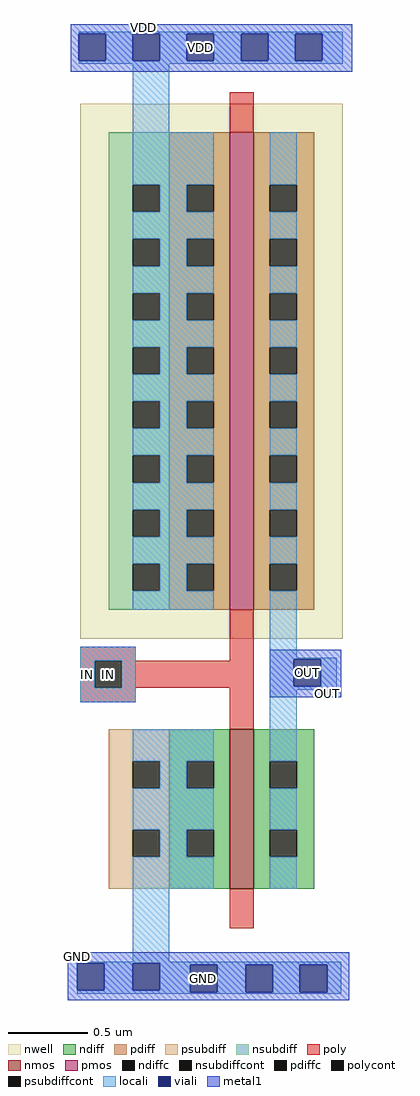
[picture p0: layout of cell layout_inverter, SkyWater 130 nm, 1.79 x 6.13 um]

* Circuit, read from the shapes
.subckt layout_inverter GND IN OUT VDD
XM1 OUT IN GND GND sky130_fd_pr__nfet_01v8 w=1 l=0.15
XM2 OUT IN VDD VDD sky130_fd_pr__pfet_01v8 w=3 l=0.15
.ends

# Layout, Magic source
magic
tech sky130A
<< nwell >>
rect -94 182 71 518
<< nmos >>
rect 0 25 15 125
<< pmos >>
rect 0 200 15 500
<< ndiff >>
rect -38 105 0 125
rect -38 88 -27 105
rect -10 88 0 105
rect -38 62 0 88
rect -38 45 -27 62
rect -10 45 0 62
rect -38 25 0 45
rect 15 105 53 125
rect 15 88 25 105
rect 42 88 53 105
rect 15 62 53 88
rect 15 45 25 62
rect 42 45 53 62
rect 15 25 53 45
<< pdiff >>
rect -38 467 0 500
rect -38 450 -27 467
rect -10 450 0 467
rect -38 433 0 450
rect -38 416 -27 433
rect -10 416 0 433
rect -38 399 0 416
rect -38 382 -27 399
rect -10 382 0 399
rect -38 365 0 382
rect -38 348 -27 365
rect -10 348 0 365
rect -38 331 0 348
rect -38 314 -27 331
rect -10 314 0 331
rect -38 297 0 314
rect -38 280 -27 297
rect -10 280 0 297
rect -38 263 0 280
rect -38 246 -27 263
rect -10 246 0 263
rect -38 229 0 246
rect -38 212 -27 229
rect -10 212 0 229
rect -38 200 0 212
rect 15 467 53 500
rect 15 450 25 467
rect 42 450 53 467
rect 15 433 53 450
rect 15 416 25 433
rect 42 416 53 433
rect 15 399 53 416
rect 15 382 25 399
rect 42 382 53 399
rect 15 365 53 382
rect 15 348 25 365
rect 42 348 53 365
rect 15 331 53 348
rect 15 314 25 331
rect 42 314 53 331
rect 15 297 53 314
rect 15 280 25 297
rect 42 280 53 297
rect 15 263 53 280
rect 15 246 25 263
rect 42 246 53 263
rect 15 229 53 246
rect 15 212 25 229
rect 42 212 53 229
rect 15 200 53 212
<< ndiffc >>
rect -27 88 -10 105
rect -27 45 -10 62
rect 25 88 42 105
rect 25 45 42 62
<< pdiffc >>
rect -27 450 -10 467
rect -27 416 -10 433
rect -27 382 -10 399
rect -27 348 -10 365
rect -27 314 -10 331
rect -27 280 -10 297
rect -27 246 -10 263
rect -27 212 -10 229
rect 25 450 42 467
rect 25 416 42 433
rect 25 382 42 399
rect 25 348 42 365
rect 25 314 42 331
rect 25 280 42 297
rect 25 246 42 263
rect 25 212 42 229
<< psubdiff >>
rect -76 105 -38 125
rect -76 88 -61 105
rect -44 88 -38 105
rect -76 62 -38 88
rect -76 45 -61 62
rect -44 45 -38 62
rect -76 25 -38 45
<< nsubdiff >>
rect -76 467 -38 500
rect -76 450 -61 467
rect -44 450 -38 467
rect -76 433 -38 450
rect -76 416 -61 433
rect -44 416 -38 433
rect -76 399 -38 416
rect -76 382 -61 399
rect -44 382 -38 399
rect -76 365 -38 382
rect -76 348 -61 365
rect -44 348 -38 365
rect -76 331 -38 348
rect -76 314 -61 331
rect -44 314 -38 331
rect -76 297 -38 314
rect -76 280 -61 297
rect -44 280 -38 297
rect -76 263 -38 280
rect -76 246 -61 263
rect -44 246 -38 263
rect -76 229 -38 246
rect -76 212 -61 229
rect -44 212 -38 229
rect -76 200 -38 212
<< psubdiffcont >>
rect -61 88 -44 105
rect -61 45 -44 62
<< nsubdiffcont >>
rect -61 450 -44 467
rect -61 416 -44 433
rect -61 382 -44 399
rect -61 348 -44 365
rect -61 314 -44 331
rect -61 280 -44 297
rect -61 246 -44 263
rect -61 212 -44 229
<< poly >>
rect 0 500 15 525
rect -94 168 -59 177
rect 0 168 15 200
rect -94 151 -85 168
rect -68 151 15 168
rect -94 142 -59 151
rect 0 125 15 151
rect 0 0 15 25
<< polycont >>
rect -85 151 -68 168
<< locali >>
rect -95 562 71 563
rect -78 545 -61 562
rect -44 545 -27 562
rect -10 545 7 562
rect 24 545 41 562
rect 58 545 71 562
rect -95 543 71 545
rect -61 500 -38 543
rect -61 467 -10 500
rect -44 450 -27 467
rect -61 433 -10 450
rect -44 416 -27 433
rect -61 399 -10 416
rect -44 382 -27 399
rect -61 365 -10 382
rect -44 348 -27 365
rect -61 331 -10 348
rect -44 314 -27 331
rect -61 297 -10 314
rect -44 280 -27 297
rect -61 263 -10 280
rect -44 246 -27 263
rect -61 229 -10 246
rect -44 212 -27 229
rect -61 200 -10 212
rect 25 467 42 500
rect 25 433 42 450
rect 25 399 42 416
rect 25 365 42 382
rect 25 331 42 348
rect 25 297 42 314
rect 25 263 42 280
rect 25 229 42 246
rect -94 168 -59 177
rect -94 151 -85 168
rect -68 151 -59 168
rect -94 142 -59 151
rect 25 170 42 212
rect 25 169 67 170
rect 25 152 40 169
rect 57 152 67 169
rect 25 150 67 152
rect -61 105 -10 125
rect -44 88 -27 105
rect -61 62 -10 88
rect -44 45 -27 62
rect -61 25 -10 45
rect 25 105 42 150
rect 25 62 42 88
rect 25 25 42 45
rect -61 -21 -38 25
rect -96 -22 70 -21
rect -79 -39 -61 -22
rect -44 -23 70 -22
rect -44 -39 -25 -23
rect -96 -40 -25 -39
rect -8 -40 10 -23
rect 27 -40 44 -23
rect 61 -40 70 -23
rect -96 -41 70 -40
<< viali >>
rect -95 545 -78 562
rect -61 545 -44 562
rect -27 545 -10 562
rect 7 545 24 562
rect 41 545 58 562
rect 40 152 57 169
rect -96 -39 -79 -22
rect -61 -39 -44 -22
rect -25 -40 -8 -23
rect 10 -40 27 -23
rect 44 -40 61 -23
<< metal1 >>
rect -100 562 77 568
rect -100 545 -95 562
rect -78 545 -61 562
rect -44 545 -27 562
rect -10 545 7 562
rect 24 545 41 562
rect 58 545 77 562
rect -100 538 77 545
rect 25 169 70 175
rect 25 152 40 169
rect 57 152 70 169
rect 25 145 70 152
rect -102 -22 75 -15
rect -102 -39 -96 -22
rect -79 -39 -61 -22
rect -44 -23 75 -22
rect -44 -39 -25 -23
rect -102 -40 -25 -39
rect -8 -40 10 -23
rect 27 -40 44 -23
rect 61 -40 75 -23
rect -102 -45 75 -40
<< labels >>
rlabel viali -27 545 -10 562 1 VDD
rlabel viali -25 -40 -8 -23 1 GND
rlabel polycont -85 151 -68 168 1 IN
rlabel viali 40 152 57 169 1 OUT
rlabel metal1 -102 -20 -90 -15 1 GND
rlabel metal1 55 145 67 150 1 OUT
rlabel metal1 -60 563 -48 568 5 VDD
rlabel locali -94 142 -85 177 1 IN
rlabel polycont -80 156 -74 164 1 IN
<< end >>
